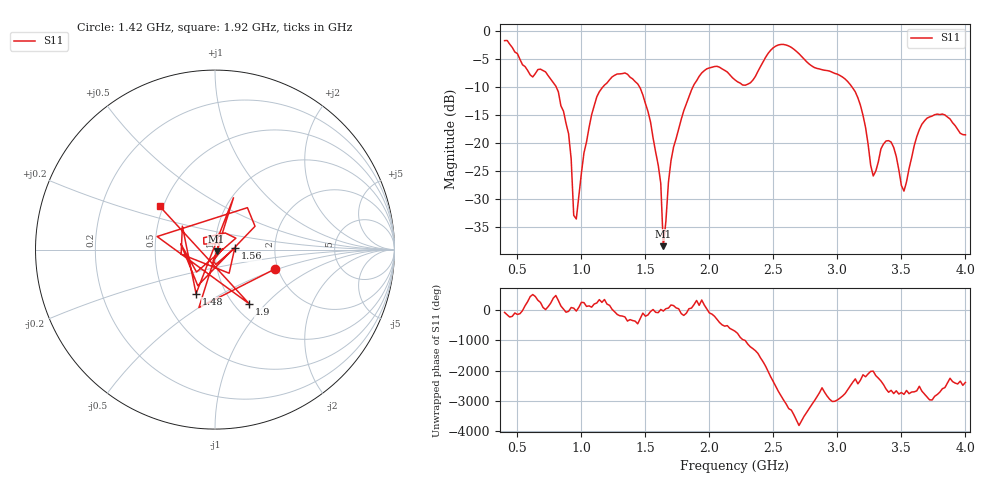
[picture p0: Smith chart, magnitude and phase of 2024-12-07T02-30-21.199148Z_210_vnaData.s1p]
!Created with skrf (http://scikit-rf.org).
# Hz S RI R 50.0
!freq ReS11 ImS11
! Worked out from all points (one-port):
!   181 points, 400 MHz to 4 GHz, reference 50 ohm
!   lowest |S11| = -38.5 dB at 1.64 GHz (marker M1), VSWR 1.02, Z = 50.8 - j0.856 ohm
!   |S11| at or under -10 dB: 802.2 MHz to 1.17 GHz (367.5 MHz wide, 37.3 % of centre); 1.453 GHz to 1.872 GHz (419.2 MHz wide, 25.2 % of centre); 3.113 GHz to end of sweep
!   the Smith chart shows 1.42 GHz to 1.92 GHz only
!   S11 on the Smith chart (normalised r, x): 1.42 GHz: 1.93, -0.47; 1.48 GHz: 0.72, -0.38; 1.56 GHz: 1.25, +0.02; 1.9 GHz: 1.17, -0.81; 1.92 GHz: 0.48, +0.27
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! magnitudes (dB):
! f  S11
! 400 MHz  -1.8
! 720 MHz  -7.4
! 860 MHz  -14.4
! 900 MHz  -18.4
! 940 MHz  -33.0
! 960 MHz  -33.6
! 1.02 GHz  -21.8
! 1.12 GHz  -11.8
! 1.3 GHz  -7.7
! 1.42 GHz  -9.1
! 1.48 GHz  -11.5
! 1.56 GHz  -19.2
! 1.62 GHz  -27.3
! 1.64 GHz  -38.5
! 1.7 GHz  -23.2
! 1.76 GHz  -17.6
! 1.9 GHz  -8.9
! 1.92 GHz  -8.2
! 2.2 GHz  -8.8
! 2.66 GHz  -3.3
! 3.1 GHz  -9.6
! 3.2 GHz  -15.1
! 3.28 GHz  -25.9
! 3.38 GHz  -19.7
! 3.52 GHz  -28.6
! 3.56 GHz  -24.6
! 3.7 GHz  -15.6
! 4 GHz  -18.6
